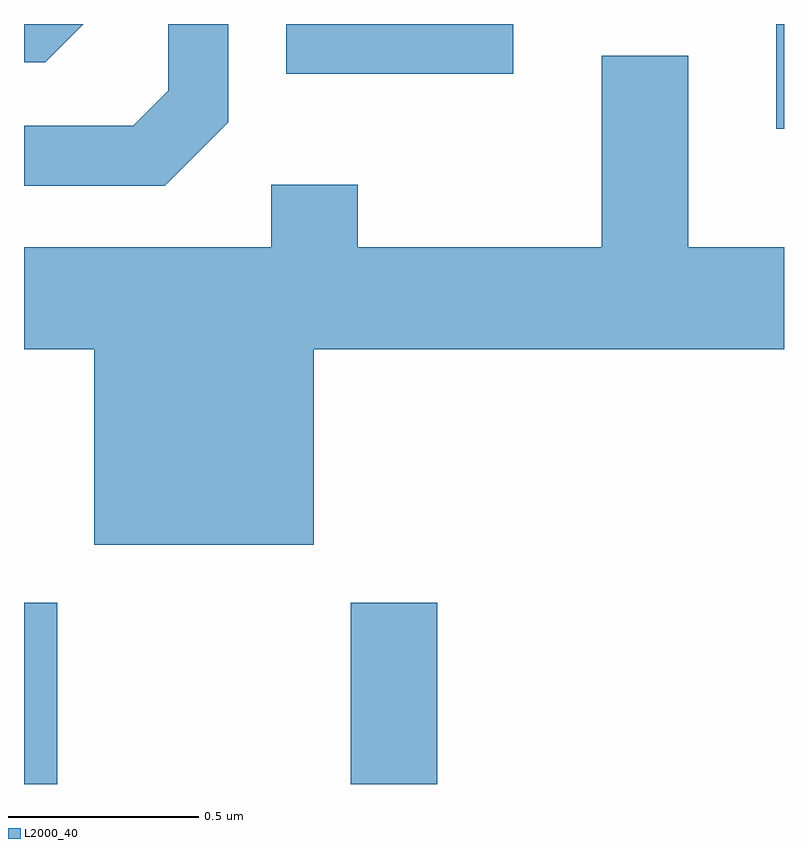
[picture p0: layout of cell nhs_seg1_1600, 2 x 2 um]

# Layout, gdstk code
import gdstk
lib = gdstk.Library(unit=1e-6, precision=1e-09)
def R(c, l, rs):  # rectangles x0, y0, x1, y1
    for r in rs: c.add(gdstk.rectangle(r[:2], r[2:], *l))
def P(c, l, *ps):  # polygons
    for p in ps: c.add(gdstk.Polygon(p, *l))
L2000_40 = (2000, 40)

nhs_seg1_1600 = lib.new_cell('nhs_seg1_1600')
R(nhs_seg1_1600, L2000_40, [(196.611,951.712,196.699,952.189), (197.471,951.712,197.699,952.189), (198.591,953.436,198.611,953.712), (197.301,953.581,197.899,953.712)])
P(nhs_seg1_1600, L2000_40, [(197.149,953.454),(197.149,953.712),(196.991,953.712),(196.991,953.537),(196.899,953.444),(196.611,953.444),(196.611,953.286),(196.982,953.286)],
  [(196.767,953.712),(196.611,953.712),(196.611,953.611),(196.667,953.611)],
  [(197.374,952.856),(198.611,952.856),(198.611,953.124),(198.359,953.124),(198.359,953.629),(198.131,953.629),(198.131,953.124),(197.489,953.124),(197.489,953.289),(197.261,953.289),(197.261,953.124),(196.611,953.124),(196.611,952.856),(196.796,952.856),(196.796,952.341),(197.374,952.341)])

lib.write_gds('nhs_seg1_1600.gds')
